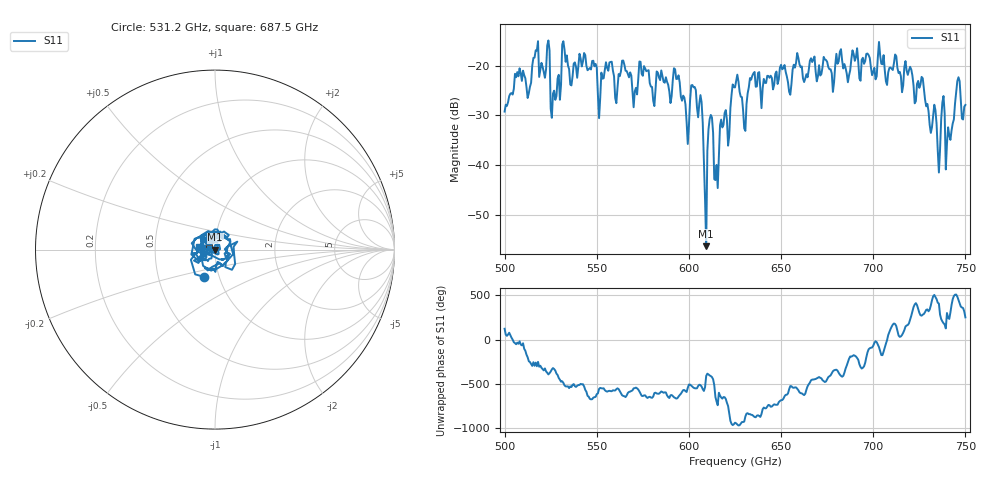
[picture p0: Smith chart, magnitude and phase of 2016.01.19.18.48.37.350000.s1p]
!Created with skrf (http://scikit-rf.org).
# GHz S RI R 50.0
!freq ReS11 ImS11
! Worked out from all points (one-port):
!   401 points, 500 GHz to 750 GHz, reference 50 ohm
!   lowest |S11| = -56.3 dB at 609.4 GHz (marker M1), VSWR 1.00, Z = 50.1 - j0.118 ohm
!   |S11| at or under -10 dB: start of sweep to end of sweep
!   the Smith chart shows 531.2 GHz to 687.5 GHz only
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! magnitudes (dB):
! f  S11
! 500 GHz  -29.2
! 506.9 GHz  -21.3
! 513.1 GHz  -25.5
! 516.9 GHz  -16.9
! 523.1 GHz  -15.9
! 526.2 GHz  -25.6
! 531.2 GHz  -15.7
! 551.9 GHz  -26.5
! 562.5 GHz  -22.1
! 593.8 GHz  -22.6
! 598.8 GHz  -31.4
! 602.5 GHz  -24.3
! 606.2 GHz  -25.9
! 609.4 GHz  -56.3
! 611.2 GHz  -30.7
! 615 GHz  -40.0
! 618.1 GHz  -32.4
! 625 GHz  -24.4
! 630 GHz  -32.6
! 634.4 GHz  -22.0
! 656.2 GHz  -20.8
! 687.5 GHz  -20.9
! 718.8 GHz  -21.8
! 735.6 GHz  -41.5
! 737.5 GHz  -27.4
! 740.6 GHz  -32.4
! 745.6 GHz  -23.1
! 750 GHz  -27.9
